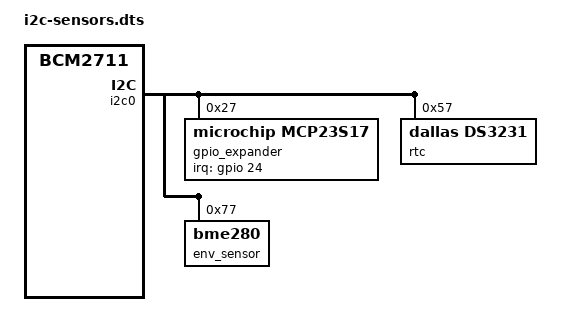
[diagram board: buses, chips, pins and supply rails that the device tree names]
/*
 * Device Tree Overlay for I2C sensors and peripherals
 * Monitoring HAT — I2C bus devices
 */
/dts-v1/;
/plugin/;

/ {
    compatible = "brcm,bcm2711";

    fragment@0 {
        target = <&i2c0>;
        __overlay__ {
            status = "okay";
            #address-cells = <1>;
            #size-cells = <0>;

            gpio_expander: mcp23017@27 {
                compatible = "microchip,mcp23s17";
                reg = <0x27>;
                interrupt-parent = <&gpio>;
                interrupts = <24 0x2>;
                microchip,irq-mirror;
            };

            rtc: ds3231@57 {
                compatible = "dallas,ds3231";
                reg = <0x57>;
            };

            env_sensor: bme280@77 {
                compatible = "bme280";
                reg = <0x77>;
            };
        };
    };
};
